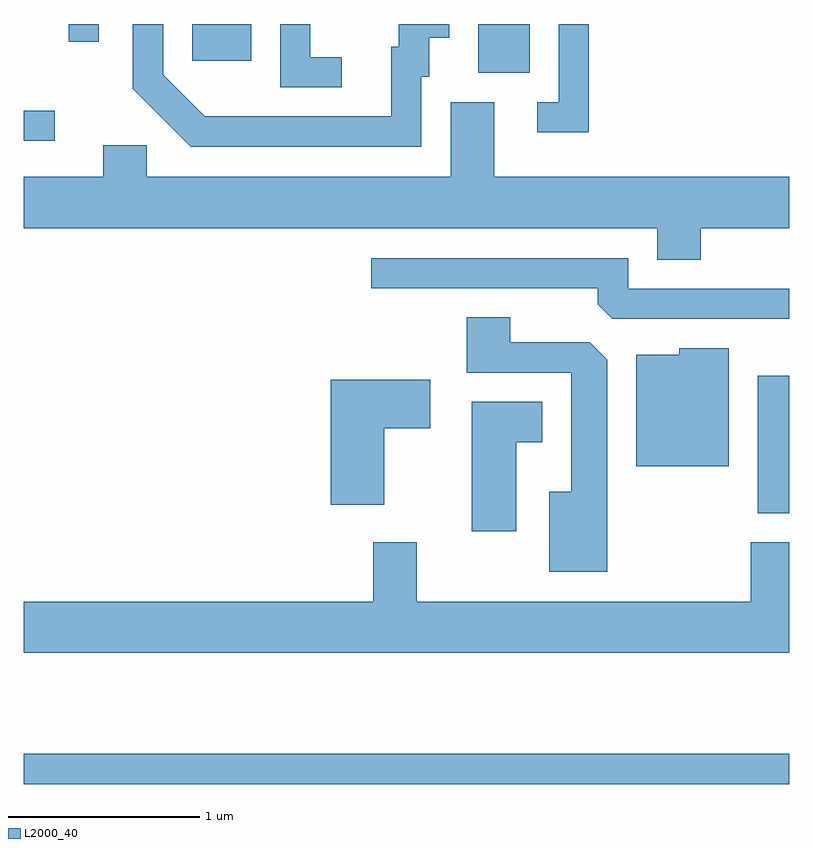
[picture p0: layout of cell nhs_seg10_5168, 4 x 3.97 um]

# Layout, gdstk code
import gdstk
lib = gdstk.Library(unit=1e-6, precision=1e-09)
def R(c, l, rs):  # rectangles x0, y0, x1, y1
    for r in rs: c.add(gdstk.rectangle(r[:2], r[2:], *l))
def P(c, l, *ps):  # polygons
    for p in ps: c.add(gdstk.Polygon(p, *l))
L2000_40 = (2000, 40)

nhs_seg10_5168 = lib.new_cell('nhs_seg10_5168')
R(nhs_seg10_5168, L2000_40, [(337.611,2126.551,341.611,2126.709), (341.446,2127.966,341.611,2128.684), (337.611,2129.911,337.773,2130.069), (339.986,2130.266,340.254,2130.522), (338.491,2130.331,338.799,2130.522), (337.846,2130.428,338.004,2130.522)])
P(nhs_seg10_5168, L2000_40, [(340.564,2130.522),(340.406,2130.522),(340.406,2130.114),(340.293,2130.114),(340.293,2129.956),(340.564,2129.956)],
  [(339.689,2130.246),(339.729,2130.246),(339.729,2130.451),(339.834,2130.451),(339.834,2130.522),(339.571,2130.522),(339.571,2130.404),(339.531,2130.404),(339.531,2130.039),(338.557,2130.039),(338.339,2130.257),(338.339,2130.522),(338.181,2130.522),(338.181,2130.184),(338.484,2129.881),(339.689,2129.881)],
  [(339.273,2130.349),(339.109,2130.349),(339.109,2130.522),(338.951,2130.522),(338.951,2130.191),(339.273,2130.191)],
  [(341.149,2129.456),(341.611,2129.456),(341.611,2129.724),(340.069,2129.724),(340.069,2130.114),(339.841,2130.114),(339.841,2129.724),(338.254,2129.724),(338.254,2129.889),(338.026,2129.889),(338.026,2129.724),(337.611,2129.724),(337.611,2129.456),(340.921,2129.456),(340.921,2129.291),(341.149,2129.291)],
  [(341.611,2129.139),(340.769,2129.139),(340.769,2129.299),(339.428,2129.299),(339.428,2129.141),(340.611,2129.141),(340.611,2129.057),(340.687,2128.981),(341.611,2128.981)],
  [(340.659,2128.769),(340.569,2128.859),(340.154,2128.859),(340.154,2128.989),(339.926,2128.989),(339.926,2128.701),(340.471,2128.701),(340.471,2128.079),(340.356,2128.079),(340.356,2127.661),(340.659,2127.661)],
  [(341.294,2128.829),(341.036,2128.829),(341.036,2128.794),(340.811,2128.794),(340.811,2128.211),(341.294,2128.211)],
  [(339.494,2128.411),(339.734,2128.411),(339.734,2128.664),(339.216,2128.664),(339.216,2128.011),(339.494,2128.011)],
  [(340.184,2128.336),(340.319,2128.336),(340.319,2128.549),(339.951,2128.549),(339.951,2127.871),(340.184,2127.871)],
  [(341.611,2127.814),(341.411,2127.814),(341.411,2127.504),(339.664,2127.504),(339.664,2127.814),(339.436,2127.814),(339.436,2127.504),(337.611,2127.504),(337.611,2127.236),(341.611,2127.236)])

lib.write_gds('nhs_seg10_5168.gds')
